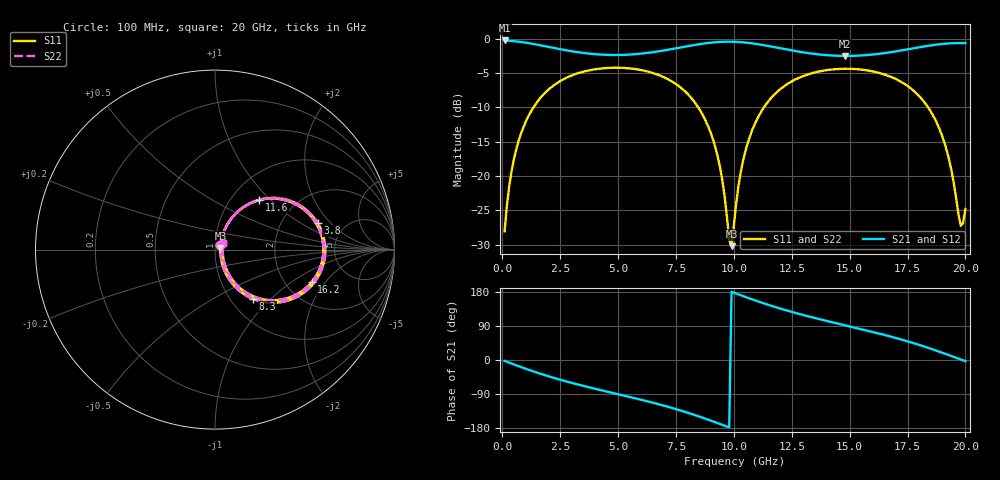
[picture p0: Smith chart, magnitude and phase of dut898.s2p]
! Touchstone file exported from HFSS 2026.1.0
!  File:  C:/ffzhzh/LocalFiles/Ansys_Project_Files/temp_train_TSV_RDL_898_1783275958_39728.aedt
!  Generated:  02:40:39 AM Jul  6, 2026
!  Design:  TSV_RDL
!  Project:  temp_train_TSV_RDL_898_1783275958_39728
! Variables:
!  h_bsmrdl = 2.11um
!  h_ox = 20um
!  h_rdl = 5um
!  h_sub = 56.61um
!  h_tmrdl = 5.82um
!  h_tsv = 56.61um
!  h_via = 3um
!  l_bsmrdl = 746.14um
!  l_sub = 6551.86um
!  l_tmrdl = 946.38um
!  m_sub = 200um
!  pitch = 56.86um
!  r_tsv = 7.09um
!  s_tmrdl = 10um
!  w_bsmrdl = 22.16um
!  w_sub = 500um
!  w_tmrdl = 20.48um
!  x_tsv_center1 = 956.62um
!  x_tsv_center2 = 1724.92um
!  x_tsv_center3 = 2691.78um
!  x_tsv_center4 = 3460.08um
!  x_tsv_center5 = 4426.94um
!  x_tsv_center6 = 5195.24um
# GHz S MA R 50.000000
! Terminal data exported
! Port[1] = TM_RDL1_1_T1
! Port[2] = TM_RDL5_1_T1
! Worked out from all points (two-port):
!   200 points, 100 MHz to 20 GHz, reference 50 ohm
!   highest |S21| = -0.26 dB at 100 MHz (marker M1); lowest = -2.5 dB at 14.8 GHz (marker M2)
!   |S21| within 3 dB of the highest: start of sweep to end of sweep
!   lowest |S11| = -30.2 dB at 9.9 GHz (marker M3), VSWR 1.06, Z = 53.1 + j0.688 ohm
!   |S11| at or under -10 dB: start of sweep to 1.347 GHz; 8.462 GHz to 11.3 GHz (2.837 GHz wide, 28.7 % of centre); 18.39 GHz to end of sweep
!   |S22| runs from -30.2 to -4.2 dB; largest |S21 - S12| = 1.6e-14
!   S11 on the Smith chart (normalised r, x): 100 MHz: 1.06, +0.05; 3.8 GHz: 3.16, +1.45; 8.3 GHz: 1.26, -0.79; 11.6 GHz: 1.34, +0.85; 16.2 GHz: 2.76, -1.47; 20 GHz: 1.09, +0.08
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0.1  0.03968 40.5  0.9706 -2.4  0.9706 -2.4  0.03968 40.5
! Gamma 0 0 0 0
! Port Impedance 50 0 50 0
0.5  0.1324 64.2  0.9596 -11.7  0.9596 -11.7  0.1324 64.2
1.1  0.2671 57.7  0.9303 -25.0  0.9303 -25.0  0.2671 57.7
2.1  0.4409 40.8  0.8642 -44.9  0.8642 -44.9  0.4409 40.8
3.5  0.5752 18.9  0.7874 -68.3  0.7874 -68.3  0.5752 18.9
3.8  0.5906 14.6  0.777 -72.8  0.777 -72.8  0.5906 14.6
5.3  0.6116 -6.1  0.7632 -94.6  0.7632 -94.6  0.6116 -6.0
6.8  0.5403 -27.7  0.8112 -117.5  0.8112 -117.5  0.5403 -27.7
8.3  0.3463 -52.5  0.8998 -145.0  0.8998 -145.0  0.3463 -52.4
9.3  0.1395 -65.9  0.9449 -166.5  0.9449 -166.5  0.1395 -65.9
9.9  0.0309 12.1  0.9506 179.9  0.9506 179.9  0.03104 12.0
10.1  0.06306 55.6  0.9481 175.3  0.9481 175.3  0.06312 55.4
10.7  0.1961 62.2  0.9287 162.0  0.9287 162.0  0.1961 62.1
11.6  0.3681 48.3  0.8773 143.3  0.8773 143.3  0.3681 48.2
13.4  0.5625 20.0  0.7773 112.3  0.7773 112.3  0.5625 20.0
14.8  0.6038 0.7  0.7491 91.7  0.7491 91.7  0.6039 0.6
16.2  0.5679 -18.6  0.7733 71.0  0.7733 71.0  0.5679 -18.6
16.7  0.5344 -25.8  0.7937 63.1  0.7937 63.1  0.5344 -25.9
18.6  0.2765 -55.5  0.898 27.8  0.898 27.8  0.2766 -55.4
19.3  0.1309 -60.0  0.9239 12.6  0.9239 12.6  0.1309 -59.9
19.8  0.04351 -10.2  0.9292 1.4  0.9292 1.4  0.0437 -10.2
20  0.05768 37.9  0.9279 -3.1  0.9279 -3.1  0.05782 37.7
